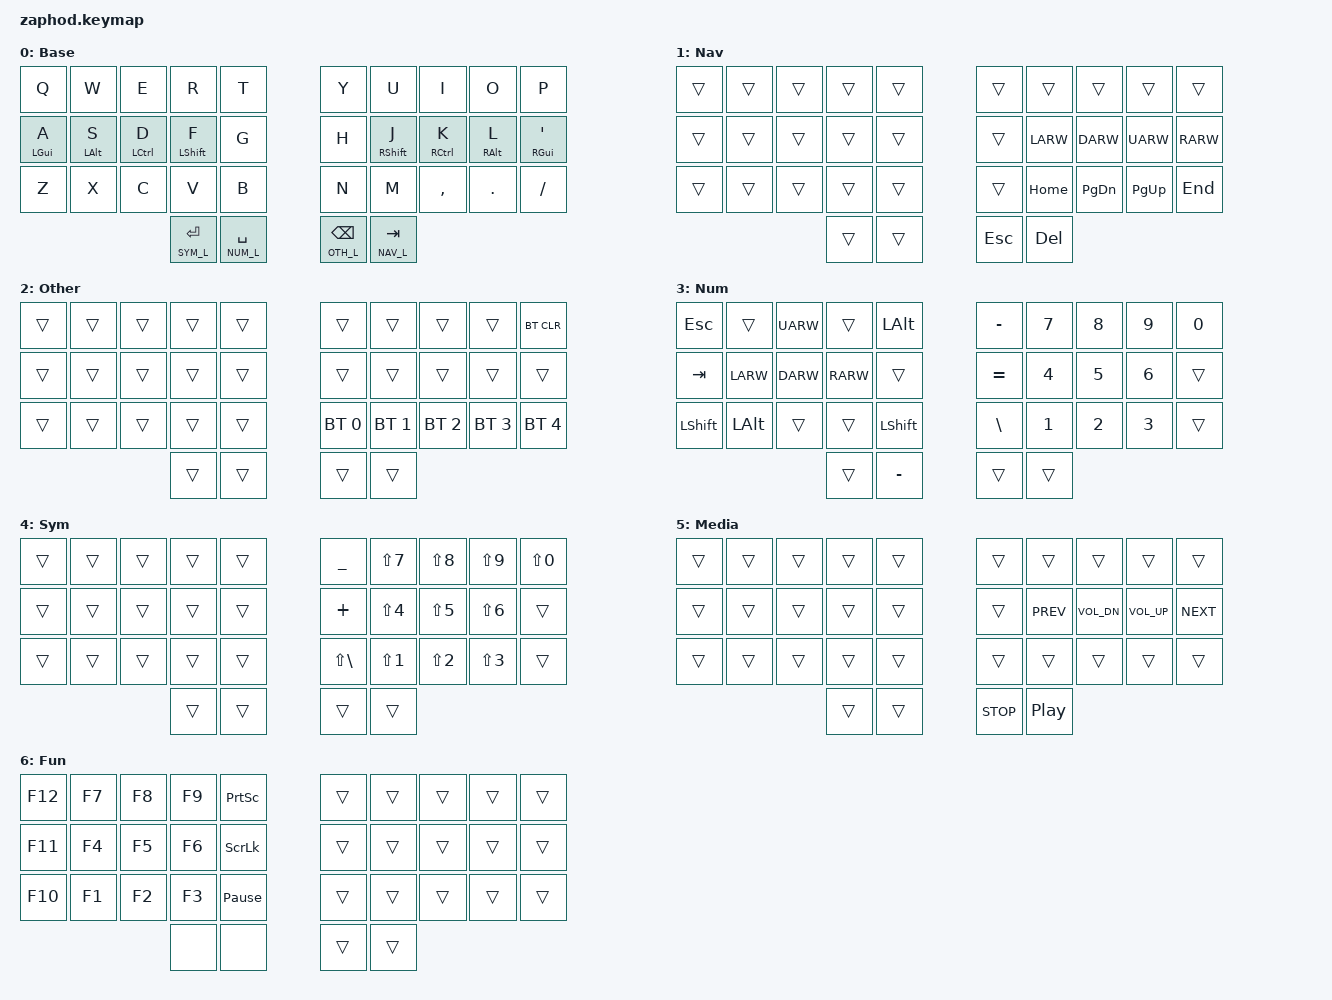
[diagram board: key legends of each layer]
/*
 * Copyright (c) 2021 Pete Johanson
 *
 * SPDX-License-Identifier: MIT
 */

#include <behaviors.dtsi>
#include <dt-bindings/zmk/keys.h>
#include <dt-bindings/zmk/bt.h>
#include <dt-bindings/zmk/outputs.h>

#define NAV_L 1
#define OTH_L 2
#define NUM_L 3
#define SYM_L 4
#define MED_L 5
#define FUN_L 6

// Using layer taps on thumbs, having quick tap as well helps w/ repeating space/backspace
&lt { quick_tap_ms = <200>; };

/ {
    combos {
        compatible = "zmk,combos";

        med_mo {
	    timeout-ms = <50>;
            key-positions = <30 31>;
            bindings = <&mo MED_L>;
        };

        fn_mo {
	    timeout-ms = <50>;
            key-positions = <32 33>;
            bindings = <&mo FUN_L>;
        };

    };

    behaviors {
        hm: homerow_mods {
            compatible = "zmk,behavior-hold-tap";
            label = "HOMEROW_MODS";
            #binding-cells = <2>;
            tapping-term-ms = <150>;
            quick-tap-ms = <0>;
            flavor = "tap-preferred";
            bindings = <&kp>, <&kp>;
        };
    };

    keymap {
        compatible = "zmk,keymap";

        default_layer {
            label = "Base";
            bindings = <
                &kp Q      &kp W      &kp E       &kp R          &kp T           &kp Y            &kp U          &kp I       &kp O      &kp P
                &hm LGUI A &hm LALT S &hm LCTRL D &hm LSHFT F    &kp G           &kp H            &hm RSHFT J    &hm RCTRL K &hm RALT L &hm RGUI QUOT
                &kp Z      &kp X      &kp C       &kp V          &kp B           &kp N            &kp M          &kp COMMA   &kp DOT    &kp FSLH
                                                  &lt SYM_L RET  &lt NUM_L SPACE &lt OTH_L BKSP   &lt NAV_L TAB
            >;
        };

        nav_layer {
            label = "Nav";
            bindings = <
                &trans     &trans     &trans      &trans          &trans       &trans           &trans         &trans      &trans     &trans
                &trans     &trans     &trans      &trans          &trans       &trans           &kp LARW       &kp DARW    &kp UARW   &kp RARW
                &trans     &trans     &trans      &trans          &trans       &trans           &kp HOME       &kp PG_DN   &kp PG_UP  &kp END
                                                  &trans          &trans       &kp ESC          &kp DEL
            >;
        };

        other_layer {
            label = "Other";
            bindings = <
                &trans	   &trans     &trans      &trans          &trans       &trans           &trans         &trans       &trans       &bt BT_CLR
                &trans     &trans     &trans      &trans          &trans       &trans           &trans         &trans       &trans       &trans
                &trans     &trans     &trans      &trans          &trans       &bt BT_SEL 0     &bt BT_SEL 1   &bt BT_SEL 2 &bt BT_SEL 3 &bt BT_SEL 4
                                                  &trans          &trans       &trans           &trans
            >;
        };

        num_layer {
            label = "Num";
            bindings = <
                &kp ESC    &trans       &kp UARW      &trans            &kp LALT      &kp MINUS          &kp N7     &kp N8      &kp N9     &kp N0
                &kp TAB    &kp LARW     &kp DARW      &kp RARW          &trans        &kp EQUAL          &kp N4     &kp N5      &kp N6     &trans
                &kp LSHFT  &kp LALT     &trans        &trans            &kp LSHFT     &kp BSLH           &kp N1     &kp N2      &kp N3     &trans
                                                      &trans            &kp MINUS     &trans             &trans
            >;
        };

        sym_layer {
            label = "Sym";
            bindings = <
                &trans    &trans   &trans     &trans   &trans        &kp UNDER    &kp LS(N7)  &kp LS(N8)  &kp LS(N9)    &kp LS(N0)
                &trans    &trans   &trans     &trans   &trans        &kp PLUS     &kp LS(N4)  &kp LS(N5)  &kp LS(N6)    &trans
                &trans    &trans   &trans     &trans   &trans        &kp LS(BSLH) &kp LS(N1)  &kp LS(N2)  &kp LS(N3)    &trans
                                              &trans   &trans        &trans       &trans
            >;
        };

        media_layer {
            label = "Media";
            bindings = <
                &trans	   &trans     &trans      &trans          &trans       &trans           &trans         &trans       &trans       &trans
                &trans     &trans     &trans      &trans          &trans       &trans           &kp C_PREV     &kp C_VOL_DN &kp C_VOL_UP &kp C_NEXT
                &trans     &trans     &trans      &trans          &trans       &trans           &trans         &trans       &trans       &trans
                                                  &trans          &trans       &kp C_STOP       &kp C_PLAY_PAUSE
            >;
        };

        fun_layer {
            label = "Fun";
            bindings = <
                &kp F12     &kp F7     &kp F8      &kp F9     &kp PSCRN         &trans          &trans         &trans      &trans     &trans
                &kp F11     &kp F4     &kp F5      &kp F6     &kp SLCK          &trans          &trans         &trans      &trans     &trans
                &kp F10     &kp F1     &kp F2      &kp F3     &kp PAUSE_BREAK   &trans          &trans         &trans      &trans     &trans
                                                   &none      &none             &trans          &trans
            >;
        };
    };
};

